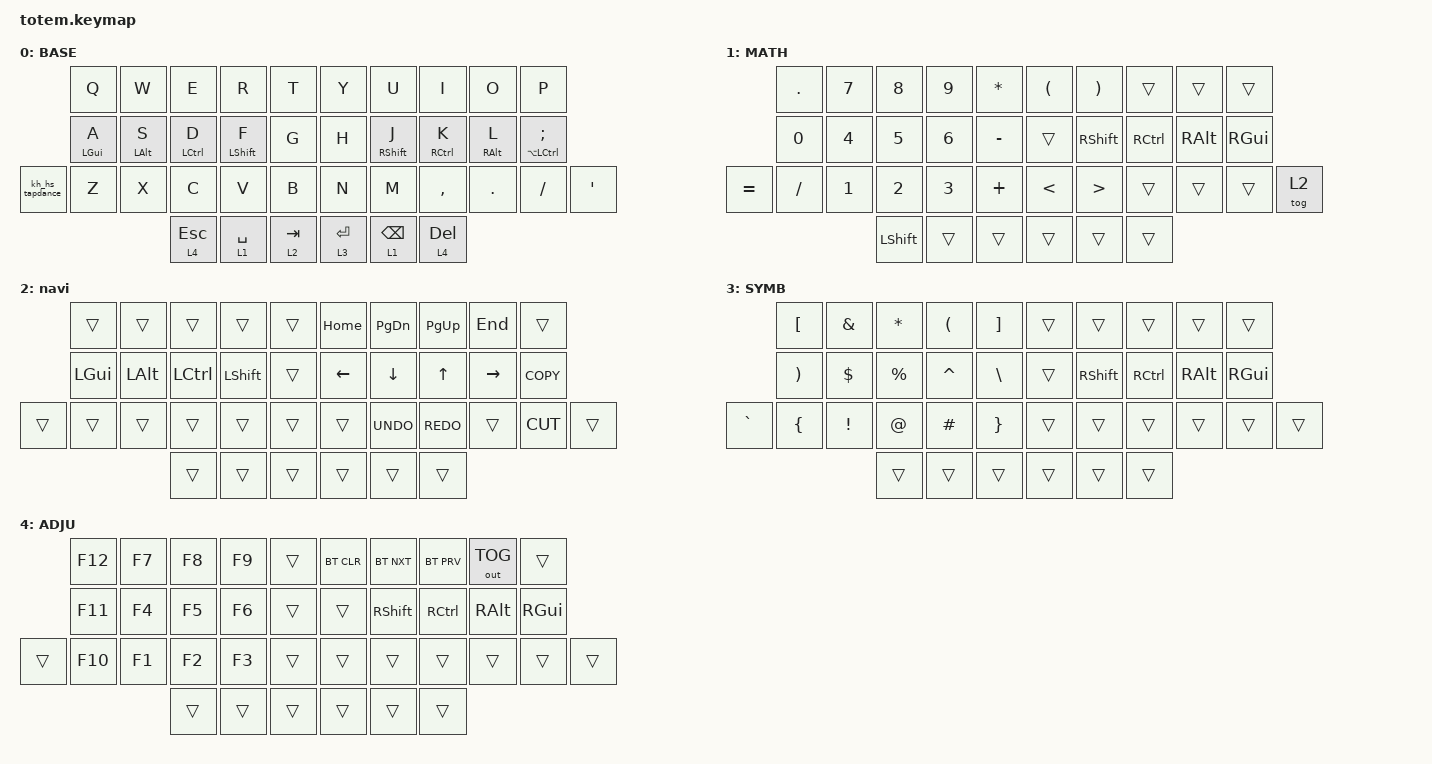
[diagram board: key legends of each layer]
//
//                                                        ▀▀▀▀▀     ▀▀▀▀▀          ▀▀█▀▀
//                                                        ▄▀▀▀▄  ▄  ▄▀▀▀▄  ▄  ▄▀▀▀▄  █  ▄▀▀▀▄
//                                                        █   █  █  █   █  █  █   █  █  █   █
//                                                         ▀▀▀   █   ▀▀▀   █   ▀▀▀   ▀   ▀▀▀
//                                                               █      ▄▄▄█▄▄▄    █   █  
//                                                               ▀      █  █  █     █▄█
//                                                             ▀▀▀▀▀    █  █  █      ▀
//                                                                      ▀  ▀  ▀
//
// ▄▄▄▄▄▄▄▄▄▄▄▄▄▄▄▄▄▄▄▄▄▄▄▄▄▄▄▄▄▄▄▄▄▄▄▄▄▄▄▄▄▄▄▄▄▄▄▄▄▄▄▄▄▄▄▄▄▄▄▄▄▄▄▄▄▄▄▄▄▄▄▄▄▄▄▄▄▄▄▄▄▄▄▄▄▄▄▄▄▄▄▄▄▄▄▄▄▄▄▄▄▄▄▄▄▄▄▄▄▄▄▄▄▄▄▄▄▄▄▄▄▄▄▄▄▄▄▄▄▄▄▄▄▄▄▄▄▄▄▄▄▄▄▄▄▄▄▄▄

#define BASE 0
#define MATH 1
#define SYMB 2
#define ADJU  3

#include <behaviors.dtsi>
#include <dt-bindings/zmk/bt.h>
#include <dt-bindings/zmk/keys.h>
#include <dt-bindings/zmk/outputs.h>

/ {
    combos {
        compatible = "zmk,combos";

        combo_esc {
            timeout-ms = <50>;
            key-positions = <0 1>;
            bindings = <&kp ESC>;
        };

        Copy {
            bindings = <&kp LC(C)>;
            key-positions = <3 4>;
        };

        Paste {
            bindings = <&kp LC(V)>;
            key-positions = <13 14>;
        };
    };

    behaviors {
        ss_hs_modmorph: ss_hs_modmorph {
            compatible = "zmk,behavior-mod-morph";
            label = "SS_HS_MODMORPH";
            bindings = <&kp M>, <&kp RIGHT_BRACKET>;

            #binding-cells = <0>;
            mods = <(MOD_LSFT|MOD_RSFT)>;
        };

        kh_hs_tapdance: kh_hs_tapdance {
            compatible = "zmk,behavior-tap-dance";
            label = "KH_HS_TAPDANCE";
            #binding-cells = <0>;
            tapping-term-ms = <200>;
            bindings = <&kp LEFT_BRACKET>, <&kp RIGHT_BRACKET>;
        };

        hrm: hrm {
            compatible = "zmk,behavior-hold-tap";
            #binding-cells = <2>;
            flavor = "tap-preferred";
            tapping-term-ms = <200>;
            quick-tap-ms = <200>;
            require-prior-idle-ms = <125>;
            bindings = <&kp>, <&kp>;
        };
    };

    keymap {
        compatible = "zmk,keymap";

        base {
            label = "BASE";
            bindings = <
                 &kp Q        &kp W        &kp E         &kp R         &kp T        &kp Y        &kp U            &kp I         &kp O        &kp P
                 &hrm LGUI A  &hrm LALT S  &hrm LCTRL D  &hrm LSHFT F  &kp G        &kp H        &hrm RSHFT J     &hrm RCTRL K  &hrm RALT L  &hrm LA(LCTRL) SEMICOLON
&kh_hs_tapdance  &kp Z        &kp X        &kp C         &kp V         &kp B        &kp N        &kp M            &kp COMMA     &kp DOT      &kp FSLH                  &kp SQT
                                           &lt 4 ESCAPE  &lt 1 SPACE   &lt 2 TAB    &lt 3 ENTER  &lt 1 BACKSPACE  &lt 4 DELETE
            >;
        };

        math {
            label = "MATH";
            bindings = <
           &kp DOT    &kp N7        &kp N8          &kp N9        &kp ASTERISK    &kp LEFT_PARENTHESIS  &kp RIGHT_PARENTHESIS  &trans     &trans         &trans
           &kp N0     &kp NUMBER_4  &kp N5          &kp N6        &kp MINUS       &trans                &kp RIGHT_SHIFT        &kp RCTRL  &kp RIGHT_ALT  &kp RIGHT_GUI
&kp EQUAL  &kp SLASH  &kp NUMBER_1  &kp NUMBER_2    &kp NUMBER_3  &kp PLUS        &kp LESS_THAN         &kp GREATER_THAN       &trans     &trans         &trans         &tog 2
                                    &kp LEFT_SHIFT  &trans        &trans          &trans                &trans                 &trans
            >;
        };

        navi {
            bindings = <
        &trans    &trans    &trans     &trans          &trans    &kp HOME  &kp PAGE_DOWN  &kp PG_UP   &kp END    &trans
        &kp LGUI  &kp LALT  &kp LCTRL  &kp LEFT_SHIFT  &trans    &kp LEFT  &kp DOWN       &kp UP      &kp RIGHT  &kp K_COPY
&trans  &trans    &trans    &trans     &trans          &trans    &trans    &kp K_UNDO     &kp K_REDO  &trans     &kp K_CUT   &trans
                            &trans     &trans          &trans    &trans    &trans         &trans
            >;
        };

        symb {
            label = "SYMB";
            bindings = <
           &kp LEFT_BRACKET       &kp AMPERSAND    &kp ASTRK    &kp LPAR   &kp RIGHT_BRACKET    &trans  &trans     &trans     &trans    &trans
           &kp RIGHT_PARENTHESIS  &kp DOLLAR       &kp PERCENT  &kp CARET  &kp BACKSLASH        &trans  &kp RSHFT  &kp RCTRL  &kp RALT  &kp RGUI
&kp GRAVE  &kp LEFT_BRACE         &kp EXCLAMATION  &kp AT_SIGN  &kp HASH   &kp RIGHT_BRACE      &trans  &trans     &trans     &trans    &trans    &trans
                                                   &trans       &trans     &trans               &trans  &trans     &trans
            >;
        };

        func {
            label = "ADJU";
            bindings = <
        &kp F12  &kp F7  &kp F8  &kp F9  &trans    &bt BT_CLR  &bt BT_NXT  &bt BT_PRV  &out OUT_TOG  &trans
        &kp F11  &kp F4  &kp F5  &kp F6  &trans    &trans      &kp RSHIFT  &kp RCTRL   &kp RALT      &kp RGUI
&trans  &kp F10  &kp F1  &kp F2  &kp F3  &trans    &trans      &trans      &trans      &trans        &trans    &trans
                         &trans  &trans  &trans    &trans      &trans      &trans
            >;
        };
    };
};
